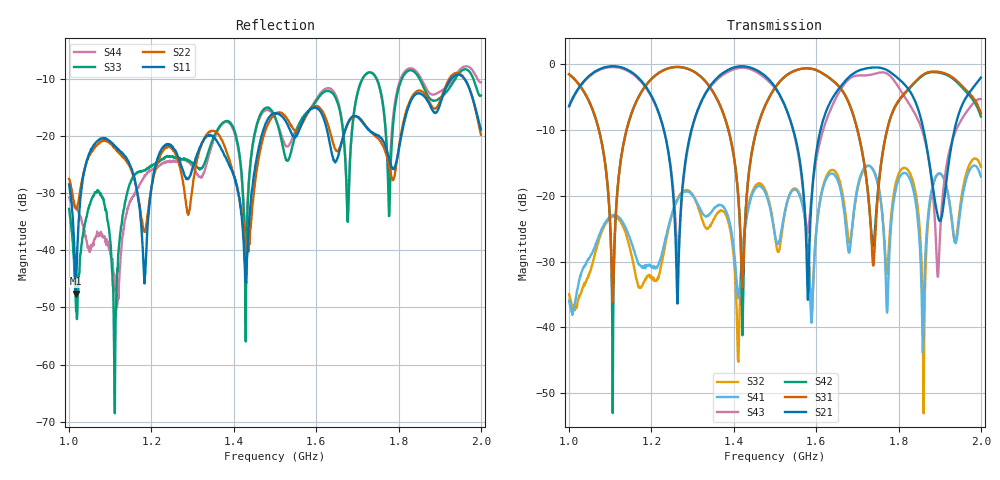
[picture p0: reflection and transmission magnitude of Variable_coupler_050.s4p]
#  HZ  S  DB  R  50.00
! Rohde & Schwarz Vector Network Analyzer
! Rohde-Schwarz,ZNB8-4Port,1311601044102961,2.82
! Created: UTC 1/17/2019, 3:10:47 PM
! freq[Hz]  db:S11  ang:S11  db:S12  ang:S12  db:S13  ang:S13  db:S14  ang:S14
!  db:S21  ang:S21  db:S22  ang:S22  db:S23  ang:S23  db:S24  ang:S24
!  db:S31  ang:S31  db:S32  ang:S32  db:S33  ang:S33  db:S34  ang:S34
!  db:S41  ang:S41  db:S42  ang:S42  db:S43  ang:S43  db:S44  ang:S44
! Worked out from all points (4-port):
!   1001 points, 1 GHz to 2 GHz, reference 50 ohm
!   strongest paths, dB at 1 GHz, 1.25 GHz, 1.5 GHz, 1.75 GHz, 2 GHz:
!     S21: -6.4, -17.9, -3.5, -0.6, -2.1
!     S31: -1.6, -0.5, -3.6, -19.8, -7.5
!     S42: -1.6, -0.5, -3.6, -19.3, -8.0
!     S43: -6.5, -17.2, -3.7, -1.4, -5.3
!     S41: -35.9, -22.7, -26.1, -18.3, -17.1
!     S32: -35.0, -22.8, -26.1, -18.2, -15.6
!   lowest |S11| = -47.6 dB at 1.016 GHz (marker M1), VSWR 1.01, Z = 49.7 + j0.287 ohm
!   |S11| at or under -10 dB: start of sweep to 1.928 GHz; 1.96 GHz to end of sweep
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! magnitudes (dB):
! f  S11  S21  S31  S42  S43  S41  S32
! 1 GHz  -28.5  -6.4  -1.6  -1.6  -6.5  -35.9  -35.0
! 1.016 GHz  -47.6  -4.4  -2.5  -2.5  -4.5  -35.5  -37.0
! 1.106 GHz  -21.4  -0.3  -36.2  -53.0  -0.5  -22.9  -23.2
! 1.263 GHz  -23.4  -36.4  -0.5  -0.5  -29.0  -20.6  -20.5
! 1.421 GHz  -35.7  -0.4  -34.0  -41.2  -0.6  -28.6  -28.8
! 1.58 GHz  -15.8  -35.8  -0.7  -0.7  -25.5  -28.2  -27.5
! 2 GHz  -18.9  -2.1  -7.5  -8.0  -5.3  -17.1  -15.6
